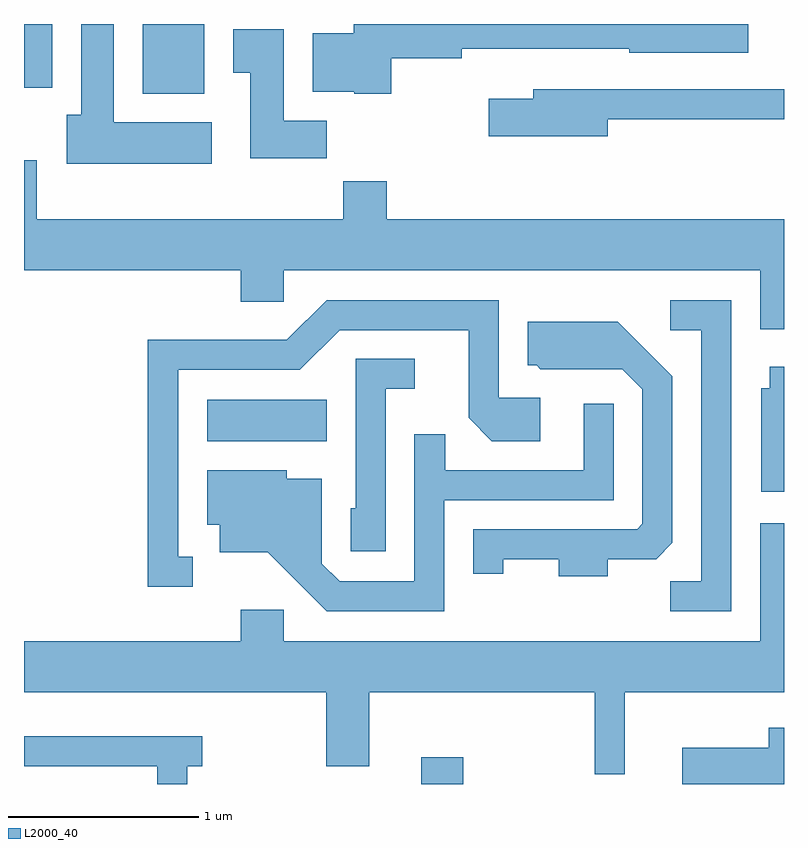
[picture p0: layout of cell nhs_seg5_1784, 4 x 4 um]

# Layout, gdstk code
import gdstk
lib = gdstk.Library(unit=1e-6, precision=1e-09)
def R(c, l, rs):  # rectangles x0, y0, x1, y1
    for r in rs: c.add(gdstk.rectangle(r[:2], r[2:], *l))
def P(c, l, *ps):  # polygons
    for p in ps: c.add(gdstk.Polygon(p, *l))
L2000_40 = (2000, 40)

nhs_seg5_1784 = lib.new_cell('nhs_seg5_1784')
R(nhs_seg5_1784, L2000_40, [(239.701,1474.072,239.924,1474.214), (238.576,1475.876,239.204,1476.094), (238.236,1477.706,238.559,1478.072), (237.611,1477.736,237.759,1478.072)])
P(nhs_seg5_1784, L2000_40, [(239.544,1477.891),(239.914,1477.891),(239.914,1477.941),(240.796,1477.941),(240.796,1477.921),(241.424,1477.921),(241.424,1478.072),(239.346,1478.072),(239.346,1478.024),(239.131,1478.024),(239.131,1477.716),(239.35,1477.716),(239.35,1477.706),(239.544,1477.706)],
  [(238.599,1477.554),(238.084,1477.554),(238.084,1478.072),(237.911,1478.072),(237.911,1477.594),(237.836,1477.594),(237.836,1477.336),(238.599,1477.336)],
  [(239.204,1477.564),(238.979,1477.564),(238.979,1478.044),(238.711,1478.044),(238.711,1477.816),(238.801,1477.816),(238.801,1477.366),(239.204,1477.366)],
  [(240.684,1477.571),(241.611,1477.571),(241.611,1477.729),(240.291,1477.729),(240.291,1477.679),(240.056,1477.679),(240.056,1477.481),(240.684,1477.481)],
  [(241.611,1477.044),(239.519,1477.044),(239.519,1477.244),(239.291,1477.244),(239.291,1477.044),(237.679,1477.044),(237.679,1477.354),(237.611,1477.354),(237.611,1476.776),(238.751,1476.776),(238.751,1476.611),(238.979,1476.611),(238.979,1476.776),(241.486,1476.776),(241.486,1476.466),(241.611,1476.466)],
  [(241.334,1476.619),(241.013,1476.619),(241.013,1476.461),(241.176,1476.461),(241.176,1475.139),(241.013,1475.139),(241.013,1474.981),(241.334,1474.981)],
  [(238.498,1475.269),(238.424,1475.269),(238.424,1476.251),(239.062,1476.251),(239.272,1476.461),(239.951,1476.461),(239.951,1475.999),(240.074,1475.876),(240.329,1475.876),(240.329,1476.104),(240.109,1476.104),(240.109,1476.619),(239.204,1476.619),(238.994,1476.409),(238.261,1476.409),(238.261,1475.111),(238.498,1475.111)],
  [(240.684,1475.256),(240.939,1475.256),(241.024,1475.342),(241.024,1476.217),(240.737,1476.504),(240.261,1476.504),(240.261,1476.276),(240.309,1476.276),(240.329,1476.256),(240.759,1476.256),(240.866,1476.149),(240.866,1475.442),(240.839,1475.414),(239.976,1475.414),(239.976,1475.178),(240.134,1475.178),(240.134,1475.256),(240.426,1475.256),(240.426,1475.166),(240.684,1475.166)],
  [(239.514,1476.151),(239.668,1476.151),(239.668,1476.309),(239.356,1476.309),(239.356,1475.524),(239.331,1475.524),(239.331,1475.296),(239.514,1475.296)],
  [(241.611,1476.269),(241.536,1476.269),(241.536,1476.154),(241.491,1476.154),(241.491,1475.611),(241.611,1475.611)],
  [(239.824,1475.566),(240.714,1475.566),(240.714,1476.073),(240.556,1476.073),(240.556,1475.724),(239.829,1475.724),(239.829,1475.913),(239.666,1475.913),(239.666,1475.139),(239.272,1475.139),(239.179,1475.232),(239.179,1475.679),(238.994,1475.679),(238.994,1475.724),(238.576,1475.724),(238.576,1475.436),(238.641,1475.436),(238.641,1475.291),(238.894,1475.291),(239.204,1474.981),(239.824,1474.981)],
  [(240.774,1474.556),(241.611,1474.556),(241.611,1475.444),(241.486,1475.444),(241.486,1474.824),(238.979,1474.824),(238.979,1474.989),(238.751,1474.989),(238.751,1474.824),(237.611,1474.824),(237.611,1474.556),(239.201,1474.556),(239.201,1474.166),(239.429,1474.166),(239.429,1474.556),(240.616,1474.556),(240.616,1474.123),(240.774,1474.123)],
  [(241.611,1474.368),(241.531,1474.368),(241.531,1474.264),(241.076,1474.264),(241.076,1474.072),(241.611,1474.072)],
  [(238.469,1474.166),(238.548,1474.166),(238.548,1474.324),(237.611,1474.324),(237.611,1474.166),(238.311,1474.166),(238.311,1474.072),(238.469,1474.072)])

lib.write_gds('nhs_seg5_1784.gds')
